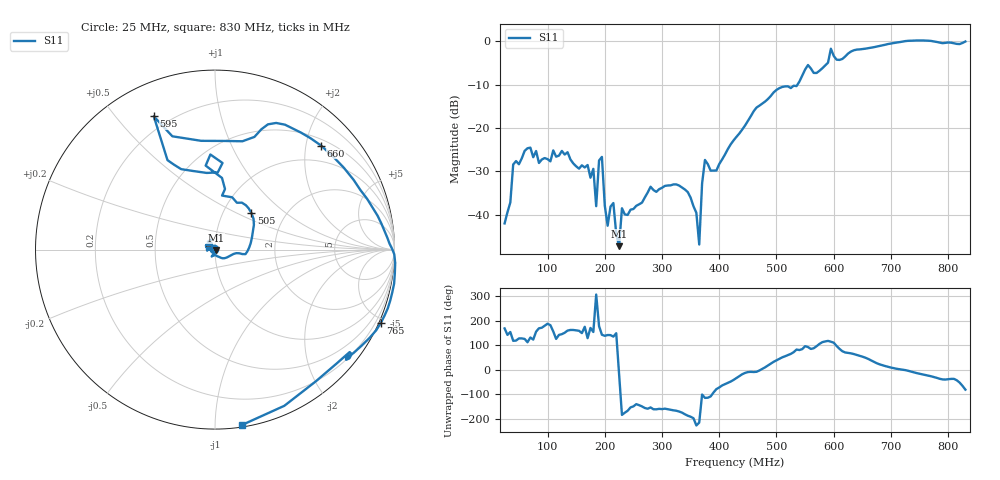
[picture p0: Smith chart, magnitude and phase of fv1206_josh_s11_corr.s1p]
!Created with skrf (http://scikit-rf.org).
# Hz S RI R 50.0
!freq ReS11 ImS11
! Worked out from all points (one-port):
!   162 points, 25 MHz to 830 MHz, reference 50 ohm
!   lowest |S11| = -47.2 dB at 225 MHz (marker M1), VSWR 1.01, Z = 50.4 - j0.154 ohm
!   |S11| at or under -10 dB: start of sweep to 536.7 MHz
!   S11 on the Smith chart (normalised r, x): 25 MHz: 0.98, +0.00; 505 MHz: 1.36, +0.60; 595 MHz: 0.14, +0.63; 660 MHz: 0.62, +2.30; 765 MHz: -0.12, -4.73; 830 MHz: 0.01, -1.16
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2.5e7  -0.00784 0.00154
4e7  -0.018 0.0335
6e7  -0.0321 0.0441
1.3e8  -0.0435 0.0238
1.8e8  -0.0306 0.0147
1.85e8  0.00768 -0.01
1.9e8  -0.0423 0.00124
1.95e8  -0.0372 0.0279
2.05e8  -0.00592 0.00463
2.15e8  -0.00978 0.00961
2.25e8  0.0041 -0.00153
2.3e8  -0.0119 0.00097
3.3e8  -0.0215 -0.00342
3.6e8  -0.0071 0.00784
3.65e8  -0.0037 0.00268
3.7e8  -0.00454 -0.0225
3.75e8  -0.0182 -0.0389
3.95e8  0.00612 -0.0319
4.3e8  0.0657 -0.0441
5.05e8  0.2032 0.2033
5.3e8  0.0956 0.2915
5.95e8  -0.341 0.7424
6.3e8  0.2948 0.6978
6.6e8  0.5907 0.5799
7.3e8  1.004 -0.0744
7.65e8  0.9237 -0.4087
8.1e8  0.7503 -0.5709
8.3e8  0.1488 -0.9778
